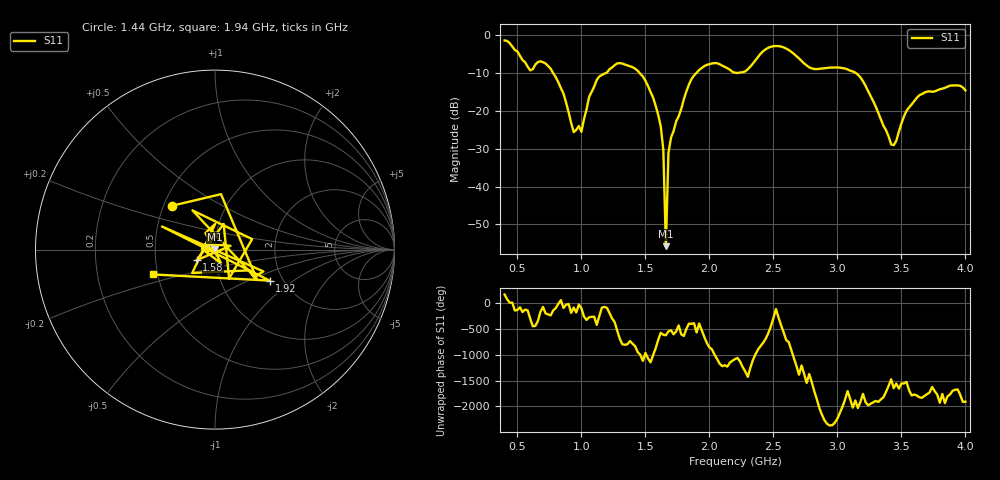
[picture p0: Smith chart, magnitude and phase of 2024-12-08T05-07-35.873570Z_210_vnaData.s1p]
!Created with skrf (http://scikit-rf.org).
# Hz S RI R 50.0
!freq ReS11 ImS11
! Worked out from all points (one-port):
!   181 points, 400 MHz to 4 GHz, reference 50 ohm
!   lowest |S11| = -55.7 dB at 1.66 GHz (marker M1), VSWR 1.00, Z = 50 + j0.159 ohm
!   |S11| at or under -10 dB: 780.2 MHz to 1.186 GHz (405.4 MHz wide, 41.2 % of centre); 1.456 GHz to 1.896 GHz (439.5 MHz wide, 26.2 % of centre); 3.146 GHz to end of sweep
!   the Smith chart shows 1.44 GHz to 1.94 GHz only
!   S11 on the Smith chart (normalised r, x): 1.44 GHz: 0.55, +0.31; 1.58 GHz: 0.81, -0.10; 1.92 GHz: 1.71, -0.67; 1.94 GHz: 0.47, -0.15
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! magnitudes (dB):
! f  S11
! 400 MHz  -1.3
! 600 MHz  -9.2
! 720 MHz  -7.4
! 860 MHz  -15.4
! 940 MHz  -25.6
! 1 GHz  -25.5
! 1.06 GHz  -16.3
! 1.12 GHz  -11.7
! 1.3 GHz  -7.3
! 1.44 GHz  -9.3
! 1.58 GHz  -18.6
! 1.62 GHz  -24.1
! 1.64 GHz  -30.2
! 1.66 GHz  -55.7
! 1.68 GHz  -31.1
! 1.76 GHz  -21.4
! 1.92 GHz  -9.1
! 1.94 GHz  -8.6
! 2.2 GHz  -9.8
! 2.48 GHz  -3.0
! 2.66 GHz  -4.9
! 2.8 GHz  -8.7
! 3.1 GHz  -9.3
! 3.2 GHz  -12.1
! 3.42 GHz  -28.8
! 3.56 GHz  -19.0
! 3.7 GHz  -14.9
! 4 GHz  -14.5
